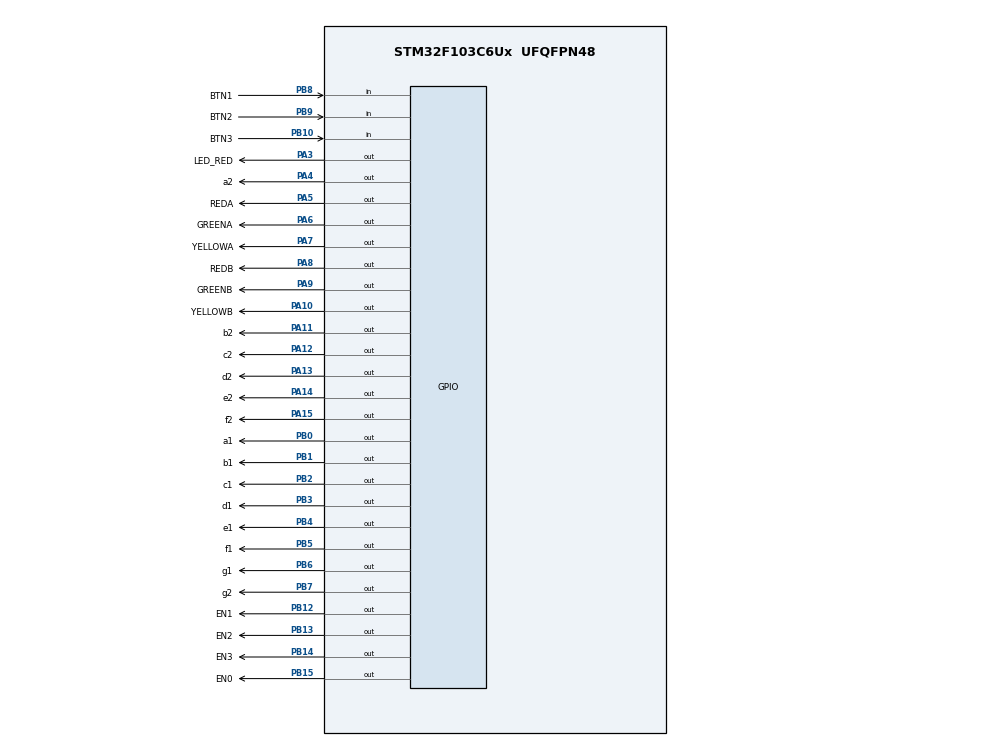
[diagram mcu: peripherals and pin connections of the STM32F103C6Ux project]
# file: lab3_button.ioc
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Mcu.Family=STM32F1
Mcu.Name=STM32F103C6Ux
Mcu.Package=UFQFPN48
NVIC.PriorityGroup=NVIC_PRIORITYGROUP_4
NVIC.TIM2_IRQn=true\:0\:0\:false\:false\:true\:true\:true
PA10.GPIO_Label=YELLOWB
PA10.Signal=GPIO_Output
PA11.GPIO_Label=b2
PA11.Signal=GPIO_Output
PA12.GPIO_Label=c2
PA12.Signal=GPIO_Output
PA13.GPIO_Label=d2
PA13.Signal=GPIO_Output
PA14.GPIO_Label=e2
PA14.Signal=GPIO_Output
PA15.GPIO_Label=f2
PA15.Signal=GPIO_Output
PA3.GPIO_Label=LED_RED
PA3.Signal=GPIO_Output
PA4.GPIO_Label=a2
PA4.Signal=GPIO_Output
PA5.GPIO_Label=REDA
PA5.Signal=GPIO_Output
PA6.GPIO_Label=GREENA
PA6.Signal=GPIO_Output
PA7.GPIO_Label=YELLOWA
PA7.Signal=GPIO_Output
PA8.GPIO_Label=REDB
PA8.Signal=GPIO_Output
PA9.GPIO_Label=GREENB
PA9.Signal=GPIO_Output
PB0.GPIO_Label=a1
PB0.Signal=GPIO_Output
PB1.GPIO_Label=b1
PB1.Signal=GPIO_Output
PB10.GPIO_Label=BTN3
PB10.GPIO_PuPd=GPIO_PULLUP
PB10.Signal=GPIO_Input
PB12.GPIO_Label=EN1
PB12.Signal=GPIO_Output
PB13.GPIO_Label=EN2
PB13.Signal=GPIO_Output
PB14.GPIO_Label=EN3
PB14.Signal=GPIO_Output
PB15.GPIO_Label=EN0
PB15.Signal=GPIO_Output
PB2.GPIO_Label=c1
PB2.Signal=GPIO_Output
PB3.GPIO_Label=d1
PB3.Signal=GPIO_Output
PB4.GPIO_Label=e1
PB4.Signal=GPIO_Output
PB5.GPIO_Label=f1
PB5.Signal=GPIO_Output
PB6.GPIO_Label=g1
PB6.Signal=GPIO_Output
PB7.GPIO_Label=g2
PB7.Signal=GPIO_Output
PB8.GPIO_Label=BTN1
PB8.GPIO_PuPd=GPIO_PULLUP
PB8.Signal=GPIO_Input
PB9.GPIO_Label=BTN2
PB9.GPIO_PuPd=GPIO_PULLUP
PB9.Signal=GPIO_Input
ProjectManager.HeapSize=0x200
ProjectManager.StackSize=0x400
ProjectManager.TargetToolchain=STM32CubeIDE
RCC.APB1Freq_Value=8000000
RCC.APB2Freq_Value=8000000
TIM2.Period=9
TIM2.Prescaler=7999
VP_SYS_VS_ND.Mode=No_Debug
VP_TIM2_VS_ClockSourceINT.Mode=Internal
board=custom

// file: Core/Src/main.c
/* USER CODE BEGIN Header */
/**
  ******************************************************************************
  * @file           : horizontal.c
  * @brief          : horizontal program body
  ******************************************************************************
  * @attention
  *
  * <h2><center>&copy; Copyright (c) 2023 STMicroelectronics.
  * All rights reserved.</center></h2>
  *
  * This software component is licensed by ST under BSD 3-Clause license,
  * the "License"; You may not use this file except in compliance with the
  * License. You may obtain a copy of the License at:
  *                        opensource.org/licenses/BSD-3-Clause
  *
  ******************************************************************************
  */
/* USER CODE END Header */
#include "main.h"

/* USER CODE BEGIN Includes */
#include "button.h"
#include "control_7SEG.h"
#include "fsm_7SEG_lineX.h"
#include "fsm_7SEG_lineY.h"
#include "fsm_traffic_lineX.h"
#include "fsm_traffic_lineY.h"
#include "fsm_system.h"
#include "global.h"
#include "traffic.h"
#include "software_timer.h"
/* USER CODE END Includes */

TIM_HandleTypeDef htim2;

void SystemClock_Config(void);
static void MX_GPIO_Init(void);
static void MX_TIM2_Init(void);

int main(void)
{

  /* MCU Configuration--------------------------------------------------------*/

  /* Reset of all peripherals, Initializes the Flash interface and the Systick. */
  HAL_Init();

  /* Configure the system clock */
  SystemClock_Config();

  /* Initialize all configured peripherals */
  MX_GPIO_Init();
  MX_TIM2_Init();
  /* USER CODE BEGIN 2 */
  HAL_TIM_Base_Start_IT(&htim2);
  /* USER CODE END 2 */

  /* Infinite loop */
  /* USER CODE BEGIN WHILE */
  setTimer4(10);
  setTimer6(10);
  setTimer7(500);// toggle led-red lineY road 2Hz
  setTimer8(500);// toggle led-red horizontal road 2Hz
  setTimer10(500);// timer blink led-red for debugging
  while (1)
  {
    /* USER CODE END WHILE */

    /* USER CODE BEGIN 3 */

	  //blink led-red for debugging
	  if(timer10_flag == 1){
		  toggleLedRed();
		  setTimer10(500);
	  }

	  fsm_system_run();
	  fsm_7SEG_lineY_run();
	  fsm_7SEG_lineX_run();
	  fsm_traffic_lineY_run();
	  fsm_traffic_lineX_run();

  }
  /* USER CODE END 3 */
}

void SystemClock_Config(void)
{
  RCC_OscInitTypeDef RCC_OscInitStruct = {0};
  RCC_ClkInitTypeDef RCC_ClkInitStruct = {0};

  /** Initializes the RCC Oscillators according to the specified parameters
  * in the RCC_OscInitTypeDef structure.
  */
  RCC_OscInitStruct.OscillatorType = RCC_OSCILLATORTYPE_HSI;
  RCC_OscInitStruct.HSIState = RCC_HSI_ON;
  RCC_OscInitStruct.HSICalibrationValue = RCC_HSICALIBRATION_DEFAULT;
  RCC_OscInitStruct.PLL.PLLState = RCC_PLL_NONE;
  if (HAL_RCC_OscConfig(&RCC_OscInitStruct) != HAL_OK)
  {
    Error_Handler();
  }
  /** Initializes the CPU, AHB and APB buses clocks
  */
  RCC_ClkInitStruct.ClockType = RCC_CLOCKTYPE_HCLK|RCC_CLOCKTYPE_SYSCLK
                              |RCC_CLOCKTYPE_PCLK1|RCC_CLOCKTYPE_PCLK2;
  RCC_ClkInitStruct.SYSCLKSource = RCC_SYSCLKSOURCE_HSI;
  RCC_ClkInitStruct.AHBCLKDivider = RCC_SYSCLK_DIV1;
  RCC_ClkInitStruct.APB1CLKDivider = RCC_HCLK_DIV1;
  RCC_ClkInitStruct.APB2CLKDivider = RCC_HCLK_DIV1;

  if (HAL_RCC_ClockConfig(&RCC_ClkInitStruct, FLASH_LATENCY_0) != HAL_OK)
  {
    Error_Handler();
  }
}

static void MX_TIM2_Init(void)
{

  TIM_ClockConfigTypeDef sClockSourceConfig = {0};
  TIM_MasterConfigTypeDef sMasterConfig = {0};

  htim2.Instance = TIM2;
  htim2.Init.Prescaler = 7999;
  htim2.Init.CounterMode = TIM_COUNTERMODE_UP;
  htim2.Init.Period = 9;
  htim2.Init.ClockDivision = TIM_CLOCKDIVISION_DIV1;
  htim2.Init.AutoReloadPreload = TIM_AUTORELOAD_PRELOAD_DISABLE;
  if (HAL_TIM_Base_Init(&htim2) != HAL_OK)
  {
    Error_Handler();
  }
  sClockSourceConfig.ClockSource = TIM_CLOCKSOURCE_INTERNAL;
  if (HAL_TIM_ConfigClockSource(&htim2, &sClockSourceConfig) != HAL_OK)
  {
    Error_Handler();
  }
  sMasterConfig.MasterOutputTrigger = TIM_TRGO_RESET;
  sMasterConfig.MasterSlaveMode = TIM_MASTERSLAVEMODE_DISABLE;
  if (HAL_TIMEx_MasterConfigSynchronization(&htim2, &sMasterConfig) != HAL_OK)
  {
    Error_Handler();
  }

}

static void MX_GPIO_Init(void)
{
  GPIO_InitTypeDef GPIO_InitStruct = {0};

  /* GPIO Ports Clock Enable */
  __HAL_RCC_GPIOA_CLK_ENABLE();
  __HAL_RCC_GPIOB_CLK_ENABLE();

  /*Configure GPIO pin Output Level */
  HAL_GPIO_WritePin(GPIOA, LED_RED_Pin|a2_Pin|REDA_Pin|GREENA_Pin
                          |YELLOWA_Pin|REDB_Pin|GREENB_Pin|YELLOWB_Pin
                          |b2_Pin|c2_Pin|d2_Pin|e2_Pin
                          |f2_Pin, GPIO_PIN_RESET);

  /*Configure GPIO pin Output Level */
  HAL_GPIO_WritePin(GPIOB, a1_Pin|b1_Pin|c1_Pin|EN1_Pin
                          |EN2_Pin|EN3_Pin|EN0_Pin|d1_Pin
                          |e1_Pin|f1_Pin|g1_Pin|g2_Pin, GPIO_PIN_RESET);

  /*Configure GPIO pins : LED_RED_Pin a2_Pin REDA_Pin GREENA_Pin
                           YELLOWA_Pin REDB_Pin GREENB_Pin YELLOWB_Pin
                           b2_Pin c2_Pin d2_Pin e2_Pin
                           f2_Pin */
  GPIO_InitStruct.Pin = LED_RED_Pin|a2_Pin|REDA_Pin|GREENA_Pin
                          |YELLOWA_Pin|REDB_Pin|GREENB_Pin|YELLOWB_Pin
                          |b2_Pin|c2_Pin|d2_Pin|e2_Pin
                          |f2_Pin;
  GPIO_InitStruct.Mode = GPIO_MODE_OUTPUT_PP;
  GPIO_InitStruct.Pull = GPIO_NOPULL;
  GPIO_InitStruct.Speed = GPIO_SPEED_FREQ_LOW;
  HAL_GPIO_Init(GPIOA, &GPIO_InitStruct);

  /*Configure GPIO pins : a1_Pin b1_Pin c1_Pin EN1_Pin
                           EN2_Pin EN3_Pin EN0_Pin d1_Pin
                           e1_Pin f1_Pin g1_Pin g2_Pin */
  GPIO_InitStruct.Pin = a1_Pin|b1_Pin|c1_Pin|EN1_Pin
                          |EN2_Pin|EN3_Pin|EN0_Pin|d1_Pin
                          |e1_Pin|f1_Pin|g1_Pin|g2_Pin;
  GPIO_InitStruct.Mode = GPIO_MODE_OUTPUT_PP;
  GPIO_InitStruct.Pull = GPIO_NOPULL;
  GPIO_InitStruct.Speed = GPIO_SPEED_FREQ_LOW;
  HAL_GPIO_Init(GPIOB, &GPIO_InitStruct);

  /*Configure GPIO pins : BTN3_Pin BTN1_Pin BTN2_Pin */
  GPIO_InitStruct.Pin = BTN3_Pin|BTN1_Pin|BTN2_Pin;
  GPIO_InitStruct.Mode = GPIO_MODE_INPUT;
  GPIO_InitStruct.Pull = GPIO_PULLUP;
  HAL_GPIO_Init(GPIOB, &GPIO_InitStruct);

}

/* USER CODE BEGIN 4 */
void HAL_TIM_PeriodElapsedCallback(TIM_HandleTypeDef *htim)
{
	timerRun();
	getKeyInput();
}
/* USER CODE END 4 */

void Error_Handler(void)
{
  __disable_irq();
  while (1)
  {
  }
}

/************************ (C) COPYRIGHT STMicroelectronics *****END OF FILE****/
